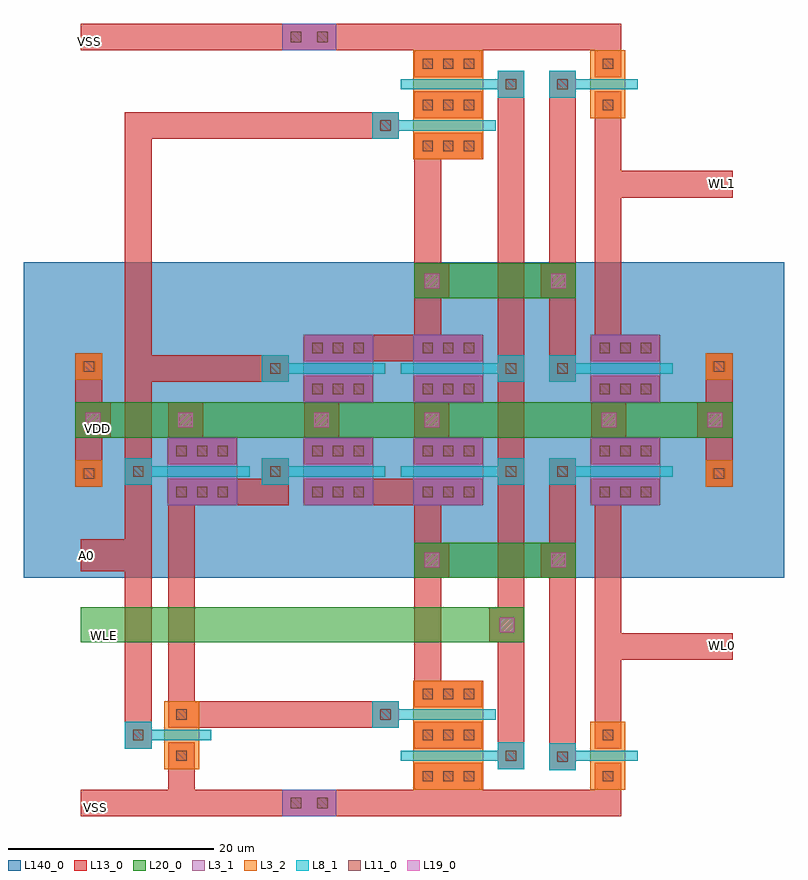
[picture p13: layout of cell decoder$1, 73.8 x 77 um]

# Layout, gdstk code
from math import pi, radians
import gdstk
lib = gdstk.Library(unit=1e-6, precision=1e-09)
def R(c, l, rs):  # rectangles x0, y0, x1, y1
    for r in rs: c.add(gdstk.rectangle(r[:2], r[2:], *l))
def A(c, l, x, y, w, h, nx, ny, dx, dy):  # array of equal rectangles
    R(c, l, [(x+i*dx, y+j*dy, x+i*dx+w, y+j*dy+h) for i in range(nx) for j in range(ny)])
L3_1 = (3, 1)
L3_2 = (3, 2)
L8_1 = (8, 1)
L11_0 = (11, 0)
L13_0 = (13, 0)
L19_0 = (19, 0)
L20_0 = (20, 0)
L140_0 = (140, 0)

fet_n_6 = lib.new_cell('fet_n$6')
R(fet_n_6, L3_2, [(-3.3,-1.7,3.3,1.7)])
R(fet_n_6, L11_0, [(-2.5,-0.5,-1.5,0.5), (1.5,-0.5,2.5,0.5)])
R(fet_n_6, L13_0, [(-3.3,-1.3,-0.7,1.3), (0.7,-1.3,3.3,1.3)])
fet_n_6.add(gdstk.FlexPath([(0,-2.9),(0,2.9)], 1, ends="flush", simple_path=True, layer=8, datatype=1))  # L8_1

fet_p_4 = lib.new_cell('fet_p$4')
R(fet_p_4, L3_1, [(-3.3,-3.4,3.3,3.4)])
A(fet_p_4, L11_0, -2.5, -2.5, 1, 1, 1, 3, 0, 2)
A(fet_p_4, L11_0, 1.5, -2.5, 1, 1, 1, 3, 0, 2)
R(fet_p_4, L13_0, [(-3.3,-3.3,-0.7,3.3), (0.7,-3.3,3.3,3.3)])
fet_p_4.add(gdstk.FlexPath([(0,-4.6),(0,4.6)], 1, ends="flush", simple_path=True, layer=8, datatype=1))  # L8_1

cont_g_6 = lib.new_cell('cont_g$6')
R(cont_g_6, L8_1, [(-1.3,-1.3,1.3,1.3)])
R(cont_g_6, L11_0, [(-0.5,-0.5,0.5,0.5)])
R(cont_g_6, L13_0, [(-1.3,-1.3,1.3,1.3)])

fet_n_1_1 = lib.new_cell('fet_n$1$1')
R(fet_n_1_1, L3_2, [(-3.3,-3.4,3.3,3.4)])
A(fet_n_1_1, L11_0, -2.5, -2.5, 1, 1, 1, 3, 0, 2)
A(fet_n_1_1, L11_0, 1.5, -2.5, 1, 1, 1, 3, 0, 2)
R(fet_n_1_1, L13_0, [(-3.3,-3.3,-0.7,3.3), (0.7,-3.3,3.3,3.3)])
fet_n_1_1.add(gdstk.FlexPath([(0,-4.6),(0,4.6)], 1, ends="flush", simple_path=True, layer=8, datatype=1))  # L8_1

cont_p_6 = lib.new_cell('cont_p$6')
R(cont_p_6, L3_1, [(-1.3,-1.3,1.3,1.3)])
R(cont_p_6, L11_0, [(-0.5,-0.5,0.5,0.5)])
R(cont_p_6, L13_0, [(-1.3,-1.3,1.3,1.3)])

via_1_4 = lib.new_cell('via_1$4')
R(via_1_4, L13_0, [(-1.7,-1.7,1.7,1.7)])
R(via_1_4, L19_0, [(-0.7,-0.7,0.7,0.7)])
R(via_1_4, L20_0, [(-1.7,-1.7,1.7,1.7)])

cont_n_6 = lib.new_cell('cont_n$6')
R(cont_n_6, L3_2, [(-1.3,-1.3,1.3,1.3)])
R(cont_n_6, L11_0, [(-0.5,-0.5,0.5,0.5)])
R(cont_n_6, L13_0, [(-1.3,-1.3,1.3,1.3)])

decoder_1 = lib.new_cell('decoder$1')
R(decoder_1, L8_1, [(28,-0.9,28.2,0.1), (35.8,-0.9,36,0.1), (18.6,3.1,18.8,4.1), (-5.4,26.7,-5.1,27.7), (7.9,26.7,8.1,27.7), (28,26.7,28.2,27.7), (35.8,26.7,36,27.7), (7.9,36.7,8.1,37.7), (28,36.7,28.2,37.7), (35.8,36.7,36,37.7), (18.6,60.3,18.8,61.3), (28,64.3,28.2,65.3), (35.8,64.3,36,65.3)])
R(decoder_1, L13_0, [(-12.3,-6.3,40.2,-3.7), (-3.8,-6.3,-1.2,0.9), (33.2,-1.8,35.8,25.9), (28.2,-1.7,30.8,66.1), (-3.8,2.3,18.6,4.9), (-8,2.9,-5.4,59.5), (37.6,2.9,40.2,23.9), (-3.8,4.9,-1.2,23.9), (20.1,6.9,22.7,23.9), (40.2,8.9,51,11.5), (-12.3,17.5,-8,20.6), (2.8,23.9,7.9,26.5), (9.4,23.9,26.7,26.5), (-12.8,28.3,-10.2,30.5), (48.4,28.3,51,30.5), (-12.8,30.5,-10.2,38.7), (48.4,30.5,51,38.7), (-8,35.9,5.3,38.5), (33.2,35.9,35.8,63.5), (9.4,37.9,26.7,40.5), (20.1,40.5,22.7,57.5), (37.6,40.5,40.2,61.5), (40.2,53.8,51,56.4), (-8,59.5,18.6,62.1), (-12.3,68.1,40.2,70.7)])
R(decoder_1, L20_0, [(-12.3,10.6,27.4,14), (23.5,16.9,32.4,20.3), (-12.3,30.5,51,33.9), (23.5,44,32.4,47.4)])
R(decoder_1, L140_0, [(-17.8,16.9,56,47.5)])
decoder_1.add(gdstk.Reference(fet_n_6, (-2.5,1.6), rotation=pi/2, x_reflection=True))
decoder_1.add(gdstk.Reference(fet_p_4, (-0.5,27.2), rotation=pi/2, x_reflection=True))
decoder_1.add(gdstk.Reference(cont_g_6, (-6.7,27.2), x_reflection=True))
decoder_1.add(gdstk.Reference(cont_g_6, (-6.7,1.6), x_reflection=True))
decoder_1.add(gdstk.Reference(fet_n_1_1, (23.4,-0.4), rotation=pi/2, x_reflection=True))
decoder_1.add(gdstk.Reference(fet_n_1_1, (23.4,3.6), rotation=3*pi/2, x_reflection=True))
decoder_1.add(gdstk.Reference(cont_g_6, (17.3,3.6), rotation=3*pi/2, x_reflection=True))
decoder_1.add(gdstk.Reference(cont_g_6, (29.5,-0.4), x_reflection=True))
decoder_1.add(gdstk.Reference(cont_p_6, (8.6,-5), x_reflection=True))
decoder_1.add(gdstk.Reference(fet_p_4, (12.7,27.2), rotation=3*pi/2, x_reflection=True))
decoder_1.add(gdstk.Reference(fet_p_4, (23.4,27.2), rotation=3*pi/2, x_reflection=True))
decoder_1.add(gdstk.Reference(fet_n_6, (38.9,-0.4), rotation=3*pi/2, x_reflection=True))
decoder_1.add(gdstk.Reference(cont_p_6, (11.2,-5), x_reflection=True))
decoder_1.add(gdstk.Reference(cont_g_6, (6.6,27.2), rotation=3*pi/2, x_reflection=True))
decoder_1.add(gdstk.Reference(cont_g_6, (29.5,27.2), rotation=3*pi/2, x_reflection=True))
decoder_1.add(gdstk.Reference(fet_p_4, (40.6,27.2), rotation=3*pi/2, x_reflection=True))
decoder_1.add(gdstk.Reference(cont_g_6, (34.5,27.2), rotation=3*pi/2, x_reflection=True))
decoder_1.add(gdstk.Reference(cont_g_6, (34.5,-0.5), rotation=3*pi/2, x_reflection=True))
decoder_1.add(gdstk.Reference(via_1_4, (21.8,18.6), rotation=3*pi/2, x_reflection=True))
decoder_1.add(gdstk.Reference(via_1_4, (34.1,18.6), rotation=3*pi/2, x_reflection=True))
decoder_1.add(gdstk.Reference(via_1_4, (29.1,12.3), rotation=3*pi/2, x_reflection=True))
decoder_1.add(gdstk.Reference(fet_p_4, (12.7,37.2), rotation=3*pi/2, x_reflection=True))
decoder_1.add(gdstk.Reference(fet_p_4, (23.4,37.2), rotation=3*pi/2, x_reflection=True))
decoder_1.add(gdstk.Reference(cont_g_6, (6.6,37.2), rotation=3*pi/2, x_reflection=True))
decoder_1.add(gdstk.Reference(cont_g_6, (29.5,37.2), rotation=3*pi/2, x_reflection=True))
decoder_1.add(gdstk.Reference(fet_p_4, (40.6,37.2), rotation=3*pi/2, x_reflection=True))
decoder_1.add(gdstk.Reference(cont_g_6, (34.5,37.2), rotation=3*pi/2, x_reflection=True))
decoder_1.add(gdstk.Reference(via_1_4, (21.8,45.7), rotation=3*pi/2, x_reflection=True))
decoder_1.add(gdstk.Reference(via_1_4, (34.1,45.7), rotation=3*pi/2, x_reflection=True))
decoder_1.add(gdstk.Reference(via_1_4, (-2.1,32.2), rotation=3*pi/2, x_reflection=True))
decoder_1.add(gdstk.Reference(via_1_4, (11.1,32.2), rotation=3*pi/2, x_reflection=True))
decoder_1.add(gdstk.Reference(via_1_4, (21.8,32.2), rotation=3*pi/2, x_reflection=True))
decoder_1.add(gdstk.Reference(via_1_4, (39,32.2), rotation=3*pi/2, x_reflection=True))
decoder_1.add(gdstk.Reference(fet_n_1_1, (23.4,60.8), rotation=pi/2, x_reflection=True))
decoder_1.add(gdstk.Reference(fet_n_1_1, (23.4,64.8), rotation=3*pi/2, x_reflection=True))
decoder_1.add(gdstk.Reference(cont_g_6, (17.3,60.8), rotation=3*pi/2, x_reflection=True))
decoder_1.add(gdstk.Reference(cont_g_6, (29.5,64.8), x_reflection=True))
decoder_1.add(gdstk.Reference(fet_n_6, (38.9,64.8), rotation=3*pi/2, x_reflection=True))
decoder_1.add(gdstk.Reference(cont_g_6, (34.5,64.8), rotation=3*pi/2, x_reflection=True))
decoder_1.add(gdstk.Reference(cont_p_6, (8.6,69.4), x_reflection=True))
decoder_1.add(gdstk.Reference(cont_p_6, (11.2,69.4), x_reflection=True))
decoder_1.add(gdstk.Reference(cont_n_6, (49.7,37.4), rotation=3*pi/2, x_reflection=True))
decoder_1.add(gdstk.Reference(via_1_4, (49.3,32.2), rotation=3*pi/2, x_reflection=True))
decoder_1.add(gdstk.Reference(cont_n_6, (49.7,27), rotation=3*pi/2, x_reflection=True))
decoder_1.add(gdstk.Reference(via_1_4, (-11.1,32.2), rotation=3*pi/2, x_reflection=True))
decoder_1.add(gdstk.Reference(cont_n_6, (-11.5,37.4), rotation=3*pi/2, x_reflection=True))
decoder_1.add(gdstk.Reference(cont_n_6, (-11.5,27), rotation=3*pi/2, x_reflection=True))
decoder_1.add(gdstk.Label('WL1', (50,55.2), layer=48, texttype=0))
decoder_1.add(gdstk.Label('VSS', (-11.4,69), layer=48, texttype=0))
decoder_1.add(gdstk.Label('A0', (-11.7,19), layer=48, texttype=0))
decoder_1.add(gdstk.Label('VSS', (-10.9,-5.4), layer=48, texttype=0))
decoder_1.add(gdstk.Label('WL0', (50,10.3), layer=48, texttype=0))
decoder_1.add(gdstk.Label('VDD', (-10.7,31.4), layer=49, texttype=0))
decoder_1.add(gdstk.Label('WLE', (-10,11.3), layer=49, texttype=0))

lib.write_gds('decoder_1.gds')
